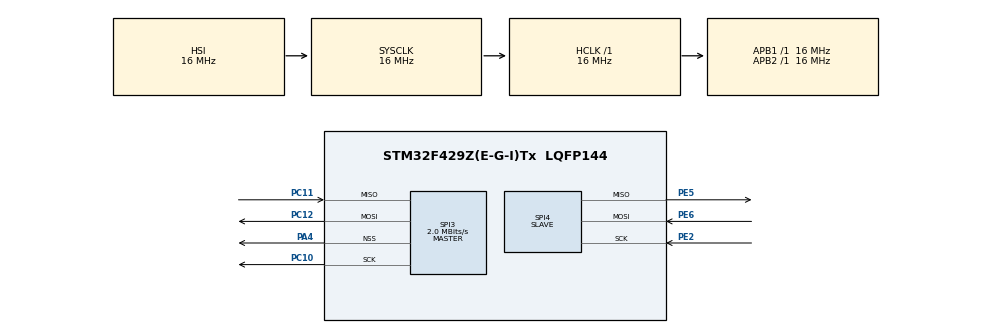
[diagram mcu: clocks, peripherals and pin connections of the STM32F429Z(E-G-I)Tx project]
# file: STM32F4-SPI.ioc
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Mcu.Family=STM32F4
Mcu.Name=STM32F429Z(E-G-I)Tx
Mcu.Package=LQFP144
NVIC.PriorityGroup=NVIC_PRIORITYGROUP_4
NVIC.SPI3_IRQn=true\:0\:0\:false\:false\:true\:true
PA13.Mode=Serial_Wire
PA13.Signal=SYS_JTMS-SWDIO
PA14.Mode=Serial_Wire
PA14.Signal=SYS_JTCK-SWCLK
PA4.Mode=NSS_Signal_Hard_Output
PA4.Signal=SPI3_NSS
PC10.Mode=Full_Duplex_Master
PC10.Signal=SPI3_SCK
PC11.Mode=Full_Duplex_Master
PC11.Signal=SPI3_MISO
PC12.Mode=Full_Duplex_Master
PC12.Signal=SPI3_MOSI
PE2.Mode=Full_Duplex_Slave
PE2.Signal=SPI4_SCK
PE5.Mode=Full_Duplex_Slave
PE5.Signal=SPI4_MISO
PE6.Mode=Full_Duplex_Slave
PE6.Signal=SPI4_MOSI
ProjectManager.HeapSize=0x200
ProjectManager.StackSize=0x400
ProjectManager.TargetToolchain=SW4STM32
RCC.AHBFreq_Value=16000000
RCC.APB1Freq_Value=16000000
RCC.APB1TimFreq_Value=16000000
RCC.APB2Freq_Value=16000000
RCC.APB2TimFreq_Value=16000000
RCC.CortexFreq_Value=16000000
RCC.HCLKFreq_Value=16000000
RCC.HSE_VALUE=25000000
RCC.HSI_VALUE=16000000
RCC.LSE_VALUE=32768
RCC.SYSCLKFreq_VALUE=16000000
RCC.VCOOutputFreq_Value=192000000
SPI3.BaudRatePrescaler=SPI_BAUDRATEPRESCALER_8
SPI3.CalculateBaudRate=2.0 MBits/s
SPI3.Direction=SPI_DIRECTION_2LINES
SPI3.Mode=SPI_MODE_MASTER
SPI3.VirtualNSS=VM_NSSHARD
SPI3.VirtualType=VM_MASTER
SPI4.Direction=SPI_DIRECTION_2LINES
SPI4.Mode=SPI_MODE_SLAVE
SPI4.VirtualType=VM_SLAVE
board=STM32F4-SPI

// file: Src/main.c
/**
  ******************************************************************************
  * File Name          : main.c
  * Description        : Main program body
  ******************************************************************************
  ** This notice applies to any and all portions of this file
  * that are not between comment pairs USER CODE BEGIN and
  * USER CODE END. Other portions of this file, whether
  * inserted by the user or by software development tools
  * are owned by their respective copyright owners.
  *
  * COPYRIGHT(c) 2017 STMicroelectronics
  *
  * Redistribution and use in source and binary forms, with or without modification,
  * are permitted provided that the following conditions are met:
  *   1. Redistributions of source code must retain the above copyright notice,
  *      this list of conditions and the following disclaimer.
  *   2. Redistributions in binary form must reproduce the above copyright notice,
  *      this list of conditions and the following disclaimer in the documentation
  *      and/or other materials provided with the distribution.
  *   3. Neither the name of STMicroelectronics nor the names of its contributors
  *      may be used to endorse or promote products derived from this software
  *      without specific prior written permission.
  *
  * THIS SOFTWARE IS PROVIDED BY THE COPYRIGHT HOLDERS AND CONTRIBUTORS "AS IS"
  * AND ANY EXPRESS OR IMPLIED WARRANTIES, INCLUDING, BUT NOT LIMITED TO, THE
  * IMPLIED WARRANTIES OF MERCHANTABILITY AND FITNESS FOR A PARTICULAR PURPOSE ARE
  * DISCLAIMED. IN NO EVENT SHALL THE COPYRIGHT HOLDER OR CONTRIBUTORS BE LIABLE
  * FOR ANY DIRECT, INDIRECT, INCIDENTAL, SPECIAL, EXEMPLARY, OR CONSEQUENTIAL
  * DAMAGES (INCLUDING, BUT NOT LIMITED TO, PROCUREMENT OF SUBSTITUTE GOODS OR
  * SERVICES; LOSS OF USE, DATA, OR PROFITS; OR BUSINESS INTERRUPTION) HOWEVER
  * CAUSED AND ON ANY THEORY OF LIABILITY, WHETHER IN CONTRACT, STRICT LIABILITY,
  * OR TORT (INCLUDING NEGLIGENCE OR OTHERWISE) ARISING IN ANY WAY OUT OF THE USE
  * OF THIS SOFTWARE, EVEN IF ADVISED OF THE POSSIBILITY OF SUCH DAMAGE.
  *
  ******************************************************************************
  */
#include "main.h"
#include "stm32f4xx_hal.h"

SPI_HandleTypeDef hspi3;
SPI_HandleTypeDef hspi4;

/* USER CODE BEGIN PV */
/* Private variables ---------------------------------------------------------*/

/* USER CODE END PV */

void SystemClock_Config(void);
static void MX_GPIO_Init(void);
static void MX_SPI3_Init(void);
static void MX_SPI4_Init(void);

/* USER CODE BEGIN PFP */
/* Private function prototypes -----------------------------------------------*/

/* USER CODE END PFP */

int main(void)
{

  /* USER CODE BEGIN 1 */
	char txBuffer[] ={0x10,0x20,0x30,0x40};
	char slavetxBuffer[] ={0x1,0x2,0x3,0x4};
	char rxBuffer[6];
	char slaverxBuffer[6];

  /* USER CODE END 1 */

  /* MCU Configuration----------------------------------------------------------*/

  /* Reset of all peripherals, Initializes the Flash interface and the Systick. */
  HAL_Init();

  /* Configure the system clock */
  SystemClock_Config();

  /* Initialize all configured peripherals */
  MX_GPIO_Init();
  MX_SPI3_Init();
  MX_SPI4_Init();

  /* Infinite loop */
  /* USER CODE BEGIN WHILE */
  while (1)
  {

	  volatile HAL_StatusTypeDef result;

	  int i;

	  /*result = HAL_SPI_Receive_IT(&hspi4,slaverxBuffer,4);
	  if(result == HAL_ERROR){
	  	  while(1);
	    }

	  result = HAL_SPI_Transmit(&hspi3,txBuffer,4,HAL_MAX_DELAY);
	  if(result == HAL_ERROR){
	    	  while(1);
	      }*/

	  result = HAL_SPI_TransmitReceive_IT(&hspi4,slavetxBuffer,slaverxBuffer,4);
	  	  if(result == HAL_ERROR){
	  		  while(1);
	  	  }

	  result = HAL_SPI_TransmitReceive_IT(&hspi3,txBuffer,rxBuffer,4);
	  if(result == HAL_ERROR){
		  while(1);
	  }
	  HAL_Delay(1000);

	  result = HAL_SPI_GetState(&hspi3);
	  for(i = 0; i <4 ; i++){
		rxBuffer[i] = 0;
		txBuffer[i] +=4;
	  }
  /* USER CODE END WHILE */

  }

}

/** System Clock Configuration
*/
void SystemClock_Config(void)
{

  RCC_OscInitTypeDef RCC_OscInitStruct;
  RCC_ClkInitTypeDef RCC_ClkInitStruct;

    /**Configure the main internal regulator output voltage
    */
  __HAL_RCC_PWR_CLK_ENABLE();

  __HAL_PWR_VOLTAGESCALING_CONFIG(PWR_REGULATOR_VOLTAGE_SCALE3);

    /**Initializes the CPU, AHB and APB busses clocks
    */
  RCC_OscInitStruct.OscillatorType = RCC_OSCILLATORTYPE_HSI;
  RCC_OscInitStruct.HSIState = RCC_HSI_ON;
  RCC_OscInitStruct.HSICalibrationValue = 16;
  RCC_OscInitStruct.PLL.PLLState = RCC_PLL_NONE;
  if (HAL_RCC_OscConfig(&RCC_OscInitStruct) != HAL_OK)
  {
    _Error_Handler(__FILE__, __LINE__);
  }

    /**Initializes the CPU, AHB and APB busses clocks
    */
  RCC_ClkInitStruct.ClockType = RCC_CLOCKTYPE_HCLK|RCC_CLOCKTYPE_SYSCLK
                              |RCC_CLOCKTYPE_PCLK1|RCC_CLOCKTYPE_PCLK2;
  RCC_ClkInitStruct.SYSCLKSource = RCC_SYSCLKSOURCE_HSI;
  RCC_ClkInitStruct.AHBCLKDivider = RCC_SYSCLK_DIV1;
  RCC_ClkInitStruct.APB1CLKDivider = RCC_HCLK_DIV1;
  RCC_ClkInitStruct.APB2CLKDivider = RCC_HCLK_DIV1;

  if (HAL_RCC_ClockConfig(&RCC_ClkInitStruct, FLASH_LATENCY_0) != HAL_OK)
  {
    _Error_Handler(__FILE__, __LINE__);
  }

    /**Configure the Systick interrupt time
    */
  HAL_SYSTICK_Config(HAL_RCC_GetHCLKFreq()/1000);

    /**Configure the Systick
    */
  HAL_SYSTICK_CLKSourceConfig(SYSTICK_CLKSOURCE_HCLK);

  /* SysTick_IRQn interrupt configuration */
  HAL_NVIC_SetPriority(SysTick_IRQn, 0, 0);
}

/* SPI3 init function */
static void MX_SPI3_Init(void)
{

  /* SPI3 parameter configuration*/
  hspi3.Instance = SPI3;
  hspi3.Init.Mode = SPI_MODE_MASTER;
  hspi3.Init.Direction = SPI_DIRECTION_2LINES;
  hspi3.Init.DataSize = SPI_DATASIZE_8BIT;
  hspi3.Init.CLKPolarity = SPI_POLARITY_LOW;
  hspi3.Init.CLKPhase = SPI_PHASE_1EDGE;
  hspi3.Init.NSS = SPI_NSS_HARD_OUTPUT;
  hspi3.Init.BaudRatePrescaler = SPI_BAUDRATEPRESCALER_8;
  hspi3.Init.FirstBit = SPI_FIRSTBIT_MSB;
  hspi3.Init.TIMode = SPI_TIMODE_DISABLE;
  hspi3.Init.CRCCalculation = SPI_CRCCALCULATION_DISABLE;
  hspi3.Init.CRCPolynomial = 10;
  if (HAL_SPI_Init(&hspi3) != HAL_OK)
  {
    _Error_Handler(__FILE__, __LINE__);
  }

}

/* SPI4 init function */
static void MX_SPI4_Init(void)
{

  /* SPI4 parameter configuration*/
  hspi4.Instance = SPI4;
  hspi4.Init.Mode = SPI_MODE_SLAVE;
  hspi4.Init.Direction = SPI_DIRECTION_2LINES;
  hspi4.Init.DataSize = SPI_DATASIZE_8BIT;
  hspi4.Init.CLKPolarity = SPI_POLARITY_LOW;
  hspi4.Init.CLKPhase = SPI_PHASE_1EDGE;
  hspi4.Init.NSS = SPI_NSS_SOFT;
  hspi4.Init.FirstBit = SPI_FIRSTBIT_MSB;
  hspi4.Init.TIMode = SPI_TIMODE_DISABLE;
  hspi4.Init.CRCCalculation = SPI_CRCCALCULATION_DISABLE;
  hspi4.Init.CRCPolynomial = 10;
  if (HAL_SPI_Init(&hspi4) != HAL_OK)
  {
    _Error_Handler(__FILE__, __LINE__);
  }

}

/** Configure pins as
        * Analog
        * Input
        * Output
        * EVENT_OUT
        * EXTI
*/
static void MX_GPIO_Init(void)
{

  /* GPIO Ports Clock Enable */
  __HAL_RCC_GPIOE_CLK_ENABLE();
  __HAL_RCC_GPIOA_CLK_ENABLE();
  __HAL_RCC_GPIOC_CLK_ENABLE();

}

void _Error_Handler(char * file, int line)
{
  while(1)
  {
  }
}

/************************ (C) COPYRIGHT STMicroelectronics *****END OF FILE****/
